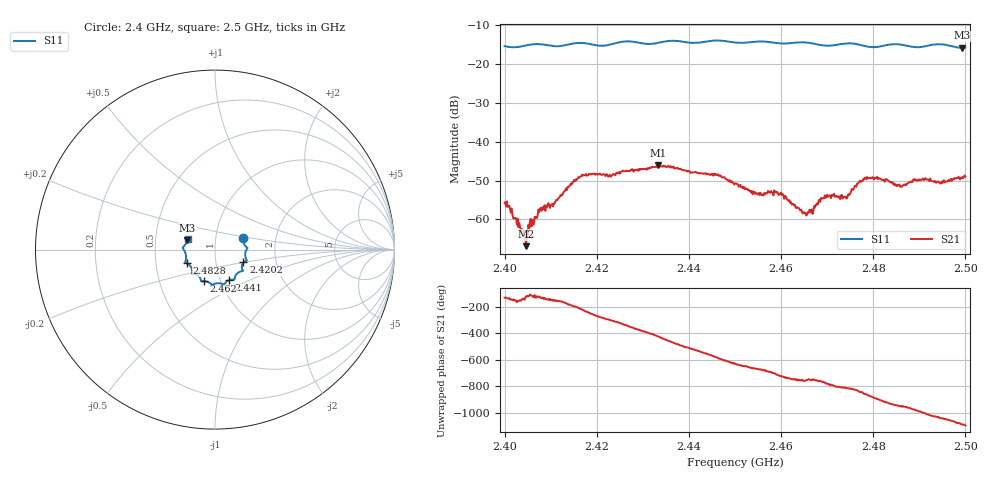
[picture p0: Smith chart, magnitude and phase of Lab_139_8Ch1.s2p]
# Hz S RI R 50
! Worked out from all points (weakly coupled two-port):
!   601 points, 2.4 GHz to 2.5 GHz, reference 50 ohm
!   highest |S21| = -46.09 dB at 2.4333 GHz (marker M1); lowest = -66.9 dB at 2.4047 GHz (marker M2)
!   lowest |S11| = -15.8 dB at 2.4993 GHz (marker M3), VSWR 1.39, Z = 36.5 + j3.86 ohm
!   |S11| at or under -10 dB: start of sweep to end of sweep
!   S12 and S22 are empty: the file has one direction only
!   S11 on the Smith chart (normalised r, x): 2.4 GHz: 1.36, +0.18; 2.4202 GHz: 1.36, -0.20; 2.441 GHz: 1.10, -0.39; 2.462 GHz: 0.83, -0.30; 2.4828 GHz: 0.72, -0.11; 2.5 GHz: 0.73, +0.09
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2.4e9  0.1582 0.0625  -0.0011 -0.00119  0 0  0 0
2.404667e9  0.1732 0.0157  -0.000277 -0.000358  0 0  0 0
2.407833e9  0.1798 0.00698  -0.000972 -0.00102  0 0  0 0
2.410333e9  0.1709 -0.00982  -0.00141 -0.000707  0 0  0 0
2.416667e9  0.1774 -0.0605  -0.00271 0.00238  0 0  0 0
2.420167e9  0.1584 -0.0712  0.000222 0.00376  0 0  0 0
2.433333e9  0.1116 -0.1509  0.00206 -0.00451  0 0  0 0
2.441e9  0.0783 -0.1699  -0.00382 -0.00123  0 0  0 0
2.45e9  0.0283 -0.1875  0.000113 0.00292  0 0  0 0
2.454333e9  -0.00953 -0.194  0.00129 0.0017  0 0  0 0
2.459e9  -0.0326 -0.1838  0.00219 0.000282  0 0  0 0
2.462e9  -0.0608 -0.1759  0.00151 -0.00061  0 0  0 0
2.465167e9  -0.0767 -0.1739  0.000912 -0.000765  0 0  0 0
2.466667e9  -0.0787 -0.1679  0.0011 -0.000776  0 0  0 0
2.47e9  -0.0954 -0.1436  0.001 -0.00182  0 0  0 0
2.474333e9  -0.1265 -0.1348  -0.000163 -0.00187  0 0  0 0
2.478333e9  -0.1278 -0.1118  -0.00259 -0.00225  0 0  0 0
2.482833e9  -0.1575 -0.0767  -0.00308 0.00123  0 0  0 0
2.483333e9  -0.1606 -0.0752  -0.00278 0.00148  0 0  0 0
2.486333e9  -0.1647 -0.0649  -0.00174 0.00207  0 0  0 0
2.499333e9  -0.154 0.0516  0.00348 -0.000508  0 0  0 0
2.5e9  -0.1522 0.0612  0.00342 -0.000949  0 0  0 0
